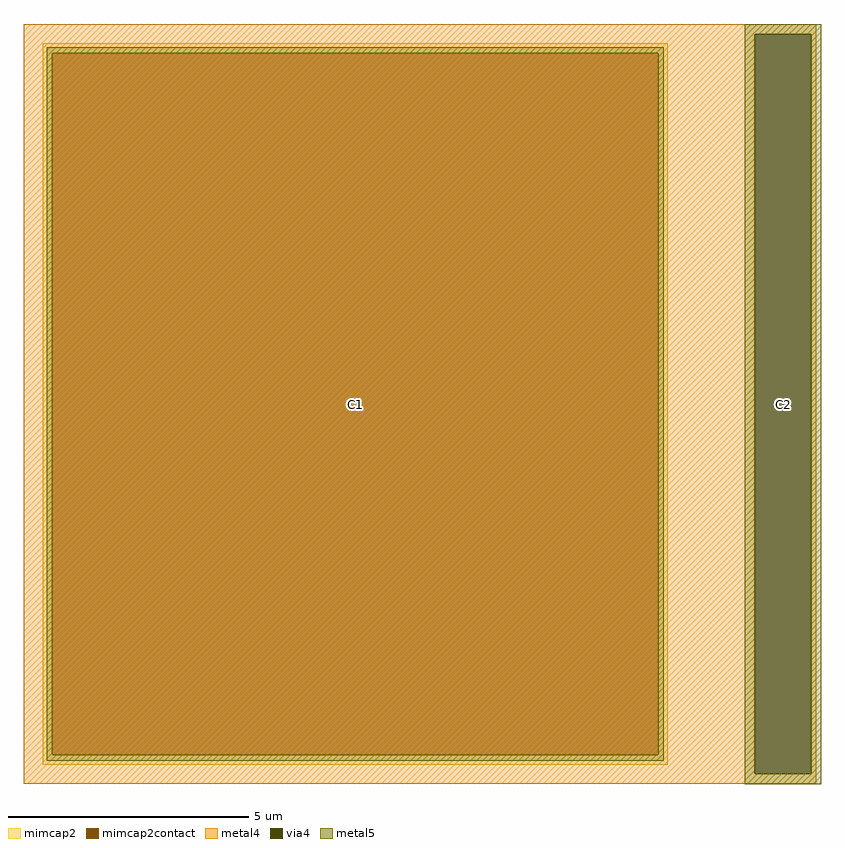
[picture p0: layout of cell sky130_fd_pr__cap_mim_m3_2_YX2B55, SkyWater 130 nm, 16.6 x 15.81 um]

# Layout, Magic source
magic
tech sky130A
magscale 1 2
<< metal4 >>
rect -1649 1539 1649 1580
rect -1649 -1539 1393 1539
rect 1629 -1539 1649 1539
rect -1649 -1580 1649 -1539
<< via4 >>
rect 1393 -1539 1629 1539
<< mimcap2 >>
rect -1569 1460 1031 1500
rect -1569 -1460 -1529 1460
rect 991 -1460 1031 1460
rect -1569 -1500 1031 -1460
<< mimcap2contact >>
rect -1529 -1460 991 1460
<< metal5 >>
rect 1351 1539 1671 1581
rect -1553 1460 1015 1484
rect -1553 -1460 -1529 1460
rect 991 -1460 1015 1460
rect -1553 -1484 1015 -1460
rect 1351 -1539 1393 1539
rect 1629 -1539 1671 1539
rect 1351 -1581 1671 -1539
<< labels >>
rlabel via4 1511 0 1511 0 0 C2
port 3 nsew
rlabel mimcap2contact -269 0 -269 0 0 C1
port 4 nsew
<< properties >>
string FIXED_BBOX -1649 -1580 1111 1580
string gencell sky130_fd_pr__cap_mim_m3_2
string library sky130
string parameters w 13.0 l 15.0 val 400.64 carea 2.00 cperi 0.19 class capacitor nx 1 ny 1 dummy 0 square 0 lmin 2.00 wmin 2.00 lmax 30.0 wmax 30.0 dc 0 bconnect 1 tconnect 1 ccov 100 doports 1
<< end >>
